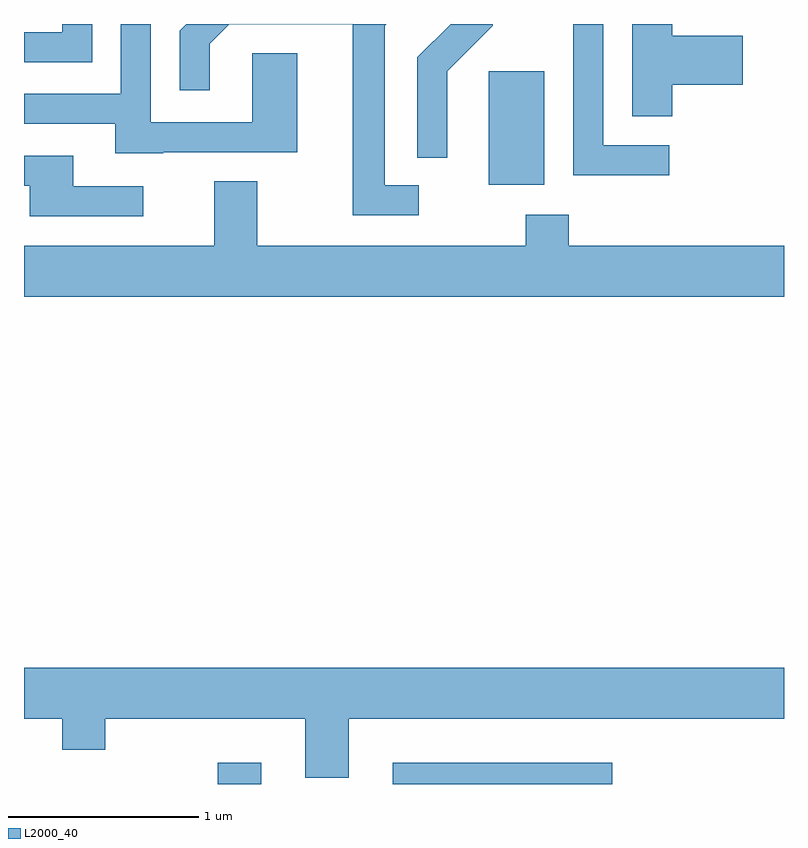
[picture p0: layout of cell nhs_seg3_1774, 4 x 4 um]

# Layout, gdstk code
import gdstk
lib = gdstk.Library(unit=1e-6, precision=1e-09)
def R(c, l, rs):  # rectangles x0, y0, x1, y1
    for r in rs: c.add(gdstk.rectangle(r[:2], r[2:], *l))
def P(c, l, *ps):  # polygons
    for p in ps: c.add(gdstk.Polygon(p, *l))
L2000_40 = (2000, 40)

nhs_seg3_1774 = lib.new_cell('nhs_seg3_1774')
R(nhs_seg3_1774, L2000_40, [(238.631,1127.892,238.859,1128.004), (239.551,1127.892,240.708,1128.004), (240.056,1131.046,240.349,1131.644)])
P(nhs_seg3_1774, L2000_40, [(239.688,1131.044),(239.509,1131.044),(239.509,1131.884),(239.517,1131.892),(238.466,1131.892),(238.431,1131.857),(238.431,1131.543),(238.589,1131.543),(238.589,1131.789),(238.692,1131.891),(239.341,1131.891),(239.341,1130.886),(239.688,1130.886)],
  [(237.969,1131.892),(237.811,1131.892),(237.811,1131.849),(237.611,1131.849),(237.611,1131.691),(237.969,1131.691)],
  [(239.839,1131.644),(240.079,1131.884),(240.079,1131.892),(239.856,1131.892),(239.681,1131.717),(239.681,1131.188),(239.839,1131.188)],
  [(241.008,1131.254),(240.659,1131.254),(240.659,1131.892),(240.501,1131.892),(240.501,1131.096),(241.008,1131.096)],
  [(238.345,1131.216),(239.049,1131.216),(239.049,1131.739),(238.811,1131.739),(238.811,1131.374),(238.279,1131.374),(238.279,1131.892),(238.121,1131.892),(238.121,1131.524),(237.611,1131.524),(237.611,1131.366),(238.091,1131.366),(238.091,1131.211),(238.345,1131.211)],
  [(241.024,1131.571),(241.394,1131.571),(241.394,1131.829),(241.024,1131.829),(241.024,1131.892),(240.811,1131.892),(240.811,1131.406),(241.024,1131.406)],
  [(238.238,1131.039),(237.869,1131.039),(237.869,1131.199),(237.611,1131.199),(237.611,1131.041),(237.641,1131.041),(237.641,1130.881),(238.238,1130.881)],
  [(241.611,1130.724),(240.479,1130.724),(240.479,1130.889),(240.251,1130.889),(240.251,1130.724),(238.839,1130.724),(238.839,1131.064),(238.611,1131.064),(238.611,1130.724),(237.611,1130.724),(237.611,1130.456),(241.611,1130.456)],
  [(239.319,1128.236),(241.611,1128.236),(241.611,1128.504),(237.611,1128.504),(237.611,1128.236),(237.811,1128.236),(237.811,1128.071),(238.039,1128.071),(238.039,1128.236),(239.091,1128.236),(239.091,1127.926),(239.319,1127.926)])

lib.write_gds('nhs_seg3_1774.gds')
